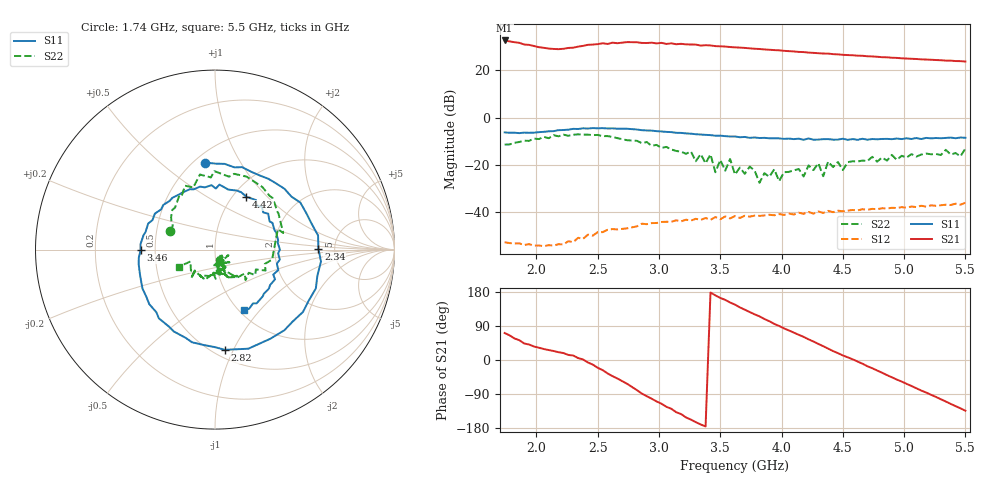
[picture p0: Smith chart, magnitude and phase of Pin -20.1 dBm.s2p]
! RsaToolbox (C) 2015 Rohde & Schwarz America
! Number of points: 93
! Number of ports: 2
! Balanced ports?: No
# Hz S RI R 50
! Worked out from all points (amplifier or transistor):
!   93 points, 1.74 GHz to 5.5 GHz, reference 50 ohm
!   highest |S21| = 32.7 dB at 1.74 GHz (marker M1)
!   |S21| within 3 dB of that: 2.305 GHz to 3.652 GHz (1.347 GHz wide, 45.2 % of centre)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
!   unconditionally stable (mu >= 1): start of sweep to end of sweep
!   at 2.34 GHz: K = 3.24, MAG = 32.5 dB, |S12| = -50.9 dB
!   at 3.66 GHz: K = 1.99, MAG = 30.4 dB, |S12| = -42.5 dB
!   at 5.5 GHz: K = 1.73, MAG = 24.9 dB, |S12| = -36.0 dB
!   S11 on the Smith chart (normalised r, x): 1.74 GHz: 0.57, +0.72; 2.34 GHz: 3.72, +0.05; 2.82 GHz: 0.57, -0.93; 3.46 GHz: 0.41, -0.00; 4.42 GHz: 1.15, +0.77; 5.5 GHz: 1.05, -0.83
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1.74e9  -0.0531 0.4849  13.91 40.84  0.00025 -0.00229  -0.2488 0.1046
1.9e9  0.1507 0.4595  25.66 24.42  -0.000373 -0.00198  -0.2381 0.2212
2.18e9  0.4755 0.262  26.43 9.911  -0.00052 -0.00202  -0.0228 0.402
2.34e9  0.5761 0.00482  31.83 2.805  -0.00107 -0.00265  0.1765 0.4063
2.38e9  0.5906 -0.0663  33.11 0.8555  -0.000881 -0.00257  0.2093 0.3848
2.54e9  0.4899 -0.3476  33.59 -16.91  -0.00226 -0.00302  0.349 0.2082
2.74e9  0.1854 -0.5522  18.15 -35.45  -0.0042 -0.00172  0.3322 0.0203
2.82e9  0.0551 -0.5583  7.117 -38.9  -0.00491 -0.0009  0.3184 -0.0549
3.02e9  -0.2296 -0.4561  -16.42 -34.73  -0.00595 0.00168  0.1881 -0.1289
3.22e9  -0.3821 -0.2639  -31.37 -17.02  -0.00558 0.00409  0.0744 -0.1548
3.3e9  -0.4132 -0.1673  -33.95 -9.755  -0.00488 0.00533  0.0449 -0.1108
3.46e9  -0.4147 -0.00418  -32.3 5.384  -0.00282 0.00733  0.0277 -0.0642
3.62e9  -0.372 0.1458  -25.59 17.13  -0.000191 0.00826  0.0403 -0.048
3.74e9  -0.3007 0.2233  -17.51 23.58  0.00159 0.00785  0.00169 -0.0921
3.9e9  -0.1967 0.3089  -5.887 26.82  0.00437 0.00764  0.0179 -0.0531
4.1e9  -0.0571 0.3466  7.716 24.05  0.00721 0.00522  0.0279 -0.0714
4.26e9  0.0746 0.3342  15.51 17.74  0.0088 0.00298  0.0292 -0.0717
4.42e9  0.1755 0.2942  20.29 8.878  0.00997 -2.12e-05  0.0434 -0.0786
4.66e9  0.2963 0.2001  20.15 -3.455  0.0104 -0.00503  0.0548 -0.1108
4.9e9  0.3481 0.0416  13 -13.3  0.00708 -0.0101  0.00371 -0.1628
5.22e9  0.3068 -0.1976  -0.5319 -16.84  -0.00113 -0.0139  -0.0837 -0.1456
5.5e9  0.1627 -0.3379  -10.67 -11.13  -0.00909 -0.0129  -0.2014 -0.0959
